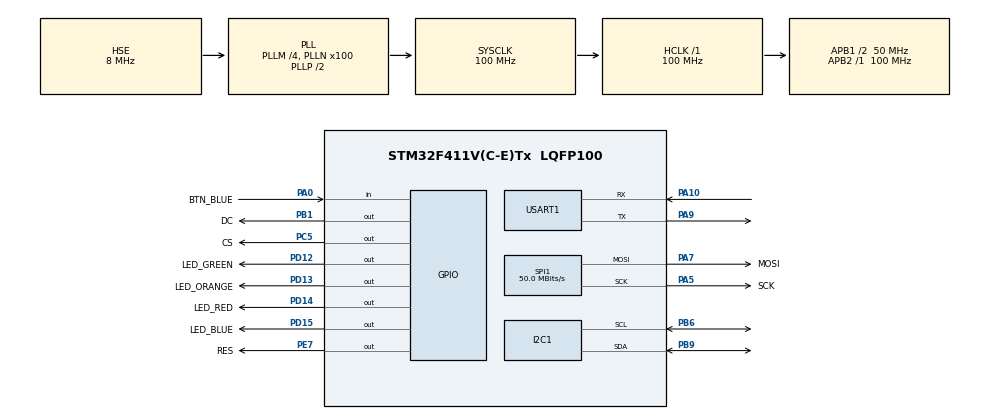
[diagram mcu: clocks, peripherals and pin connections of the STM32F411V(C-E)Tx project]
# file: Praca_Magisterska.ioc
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I2C1.I2C_Mode=I2C_Fast
Mcu.Family=STM32F4
Mcu.Name=STM32F411V(C-E)Tx
Mcu.Package=LQFP100
NVIC.PriorityGroup=NVIC_PRIORITYGROUP_4
NVIC.TIM1_UP_TIM10_IRQn=true\:0\:0\:false\:false\:true\:true
PA0-WKUP.GPIO_Label=BTN_BLUE
PA0-WKUP.Signal=GPIO_Input
PA10.Mode=Asynchronous
PA10.Signal=USART1_RX
PA5.GPIO_Label=SCK
PA5.Mode=TX_Only_Simplex_Unidirect_Master
PA5.Signal=SPI1_SCK
PA7.GPIO_Label=MOSI
PA7.Mode=TX_Only_Simplex_Unidirect_Master
PA7.Signal=SPI1_MOSI
PA9.Mode=Asynchronous
PA9.Signal=USART1_TX
PB1.GPIO_Label=DC
PB1.Signal=GPIO_Output
PB6.Mode=I2C
PB6.Signal=I2C1_SCL
PB9.Mode=I2C
PB9.Signal=I2C1_SDA
PC5.GPIO_Label=CS
PC5.Signal=GPIO_Output
PD12.GPIO_Label=LED_GREEN
PD12.Signal=GPIO_Output
PD13.GPIO_Label=LED_ORANGE
PD13.Signal=GPIO_Output
PD14.GPIO_Label=LED_RED
PD14.Signal=GPIO_Output
PD15.GPIO_Label=LED_BLUE
PD15.Signal=GPIO_Output
PE7.GPIO_Label=RES
PE7.Signal=GPIO_Output
PH0\ -\ OSC_IN.Mode=HSE-External-Oscillator
PH0\ -\ OSC_IN.Signal=RCC_OSC_IN
PH1\ -\ OSC_OUT.Mode=HSE-External-Oscillator
PH1\ -\ OSC_OUT.Signal=RCC_OSC_OUT
ProjectManager.HeapSize=0x200
ProjectManager.StackSize=0x400
ProjectManager.TargetToolchain=SW4STM32
RCC.48MHZClocksFreq_Value=50000000
RCC.AHBFreq_Value=100000000
RCC.APB1CLKDivider=RCC_HCLK_DIV2
RCC.APB1Freq_Value=50000000
RCC.APB1TimFreq_Value=100000000
RCC.APB2Freq_Value=100000000
RCC.APB2TimFreq_Value=100000000
RCC.CortexFreq_Value=100000000
RCC.HCLKFreq_Value=100000000
RCC.HSE_VALUE=8000000
RCC.HSI_VALUE=16000000
RCC.LSE_VALUE=32768
RCC.PLLM=4
RCC.PLLN=100
RCC.PLLSourceVirtual=RCC_PLLSOURCE_HSE
RCC.SYSCLKFreq_VALUE=100000000
RCC.SYSCLKSource=RCC_SYSCLKSOURCE_PLLCLK
RCC.VCOOutputFreq_Value=200000000
SPI1.CalculateBaudRate=50.0 MBits/s
SPI1.Direction=SPI_DIRECTION_2LINES
SPI1.Mode=SPI_MODE_MASTER
SPI1.VirtualType=VM_MASTER
TIM10.Period=4999
TIM10.Prescaler=9999
USART1.VirtualMode=VM_ASYNC
VP_TIM10_VS_ClockSourceINT.Mode=Enable_Timer
board=Praca_Magisterska

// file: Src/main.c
/**
  ******************************************************************************
  * @file           : main.c
  * @brief          : Main program body
  ******************************************************************************
  ** This notice applies to any and all portions of this file
  * that are not between comment pairs USER CODE BEGIN and
  * USER CODE END. Other portions of this file, whether
  * inserted by the user or by software development tools
  * are owned by their respective copyright owners.
  *
  * COPYRIGHT(c) 2018 STMicroelectronics
  *
  * Redistribution and use in source and binary forms, with or without modification,
  * are permitted provided that the following conditions are met:
  *   1. Redistributions of source code must retain the above copyright notice,
  *      this list of conditions and the following disclaimer.
  *   2. Redistributions in binary form must reproduce the above copyright notice,
  *      this list of conditions and the following disclaimer in the documentation
  *      and/or other materials provided with the distribution.
  *   3. Neither the name of STMicroelectronics nor the names of its contributors
  *      may be used to endorse or promote products derived from this software
  *      without specific prior written permission.
  *
  * THIS SOFTWARE IS PROVIDED BY THE COPYRIGHT HOLDERS AND CONTRIBUTORS "AS IS"
  * AND ANY EXPRESS OR IMPLIED WARRANTIES, INCLUDING, BUT NOT LIMITED TO, THE
  * IMPLIED WARRANTIES OF MERCHANTABILITY AND FITNESS FOR A PARTICULAR PURPOSE ARE
  * DISCLAIMED. IN NO EVENT SHALL THE COPYRIGHT HOLDER OR CONTRIBUTORS BE LIABLE
  * FOR ANY DIRECT, INDIRECT, INCIDENTAL, SPECIAL, EXEMPLARY, OR CONSEQUENTIAL
  * DAMAGES (INCLUDING, BUT NOT LIMITED TO, PROCUREMENT OF SUBSTITUTE GOODS OR
  * SERVICES; LOSS OF USE, DATA, OR PROFITS; OR BUSINESS INTERRUPTION) HOWEVER
  * CAUSED AND ON ANY THEORY OF LIABILITY, WHETHER IN CONTRACT, STRICT LIABILITY,
  * OR TORT (INCLUDING NEGLIGENCE OR OTHERWISE) ARISING IN ANY WAY OUT OF THE USE
  * OF THIS SOFTWARE, EVEN IF ADVISED OF THE POSSIBILITY OF SUCH DAMAGE.
  *
  ******************************************************************************
  */
#include "main.h"
#include "stm32f4xx_hal.h"

/* USER CODE BEGIN Includes */
#include <limits.h>
#include "SSD1331.h"

/* USER CODE END Includes */

I2C_HandleTypeDef hi2c1;

SPI_HandleTypeDef hspi1;

TIM_HandleTypeDef htim10;

UART_HandleTypeDef huart1;

/* USER CODE BEGIN PV */
/* Private variables ---------------------------------------------------------*/
///////////////////////////////////////////////////////////////
/////////////// AKCELEROMETR //////////////////////////////////
///////////////////////////////////////////////////////////////
// Rejestry
#define LSM303_ACC_ADDRESS (0x19 << 1) // adres akcelerometru: 0011001x
#define LSM303_ACC_CTRL_REG1_A 0x20 // rejestr ustawien 1
#define LSM303_ACC_Z_H_A 0x2D // wyzszy bajt danych osi Z
#define LSM303_ACC_Z_L_A 0x2C // nizszy bajt danych osi Z
#define LSM303_ACC_X_L_A 0x28 // mlodszy bajt danych osi X

// mlodszy bajt danych osi X z najstarszym bitem ustawionym na 1 w celu
// wymuszenia autoinkrementacji adresow rejestru w urzadzeniu docelowym
// (zeby moc odczytac wiecej danych na raz)
#define LSM303_ACC_X_L_A_MULTI_READ (LSM303_ACC_X_L_A | 0x80)

// Maski bitowe
// CTRL_REG1_A = [ODR3][ODR2][ODR1][ODR0][LPEN][ZEN][YEN][XEN]
#define LSM303_ACC_XYZ_ENABLE 0x07 // 0000 0111
#define LSM303_ACC_100HZ 0x50 //0101 0000
#define LSM303_ACC_10HZ 0x20 //0010 0000
#define LSM303_ACC_1HZ 0x10 //0001 0000

#define LSM303_ACC_RESOLUTION 2.0 // Maksymalna wartosc przyspieszenia [g]

// Zmienne
uint8_t Data[6]; // Zmienna do bezposredniego odczytu danych z akcelerometru
int16_t Xaxis = 0; // Zawiera przeksztalcona forme odczytanych danych z osi X
int16_t Yaxis = 0; // Zawiera przeksztalcona forme odczytanych danych z osi Y
int16_t Zaxis = 0; // Zawiera przeksztalcona forme odczytanych danych z osi Z

float Xaxis_g = 0; // Zawiera przyspieszenie w osi X przekstalcone na jednostke fizyczna [g]
float Yaxis_g = 0; // Zawiera przyspieszenie w osi Y przekstalcone na jednostke fizyczna [g]
float Zaxis_g = 0; // Zawiera przyspieszenie w osi Z przekstalcone na jednostke fizyczna [g]
/* USER CODE END PV */

void SystemClock_Config(void);
static void MX_GPIO_Init(void);
static void MX_I2C1_Init(void);
static void MX_SPI1_Init(void);
static void MX_USART1_UART_Init(void);
static void MX_TIM10_Init(void);

/* USER CODE BEGIN PFP */
/* Private function prototypes -----------------------------------------------*/
void HAL_TIM_PeriodElapsedCallback(TIM_HandleTypeDef *htim){
	if(htim->Instance == TIM10){ // Je¿eli przerwanie pochodzi od timera 10
		HAL_GPIO_TogglePin(LED_BLUE_GPIO_Port, LED_BLUE_Pin);
		ssd1331_clear_screen(BLACK);
		ssd1331_display_string(0,  0, "XAxis: ", FONT_1608, GREEN);
		ssd1331_display_string(0, 20, "YAxis: ", FONT_1608, RED);
		ssd1331_display_string(0, 40, "ZAxis: ", FONT_1608, BLUE);
	}
}

/* USER CODE END PFP */

int main(void)
{

  /* MCU Configuration----------------------------------------------------------*/

  /* Reset of all peripherals, Initializes the Flash interface and the Systick. */
  HAL_Init();

  /* Configure the system clock */
  SystemClock_Config();

  /* Initialize all configured peripherals */
  MX_GPIO_Init();
  MX_I2C1_Init();
  MX_SPI1_Init();
  MX_USART1_UART_Init();
  MX_TIM10_Init();

  /* USER CODE BEGIN 2 */
  ///////////////////////////////////////////////////////////////
  /////////////// AKCELEROMETR //////////////////////////////////
  ///////////////////////////////////////////////////////////////
  // wypelnienie zmiennej konfiguracyjnej odpowiednimi opcjami
  uint8_t Settings = LSM303_ACC_XYZ_ENABLE | LSM303_ACC_10HZ;

  // Wpisanie konfiguracji do rejestru akcelerometru
  HAL_I2C_Mem_Write(&hi2c1, LSM303_ACC_ADDRESS, LSM303_ACC_CTRL_REG1_A, 1, &Settings, 1, 100);

  ///////////////////////////////////////////////////////////////
  ///////////////// SPI - OLED //////////////////////////////////
  ///////////////////////////////////////////////////////////////
  ssd1331_init();
  ssd1331_clear_screen(BLACK);
  ssd1331_display_string(0, 0, "Hello World!", FONT_1608, GREEN);

  ///////////////////////////////////////////////////////////////
  ///////////////// TIMER10 /////////////////////////////////////
  ///////////////////////////////////////////////////////////////
  HAL_TIM_Base_Start_IT(&htim10);

  /* USER CODE END 2 */

  /* Infinite loop */
  /* USER CODE BEGIN WHILE */
  while (1)
  {

	  ///////////////////////////////////////////////////////////////
	  /////////////// AKCELEROMETR //////////////////////////////////
	  ///////////////////////////////////////////////////////////////
	HAL_I2C_Mem_Read(&hi2c1, LSM303_ACC_ADDRESS, LSM303_ACC_X_L_A_MULTI_READ, 1, Data, 6, 100);
	Xaxis = ((Data[1] << 8) | Data[0]);
	Yaxis = ((Data[3] << 8) | Data[2]);
	Zaxis = ((Data[5] << 8) | Data[4]);

	// obliczenie przyspieszen w kazdej z osi w jednostce SI [g]
	 Xaxis_g = ((float) Xaxis * LSM303_ACC_RESOLUTION) / (float) INT16_MAX;
	 Yaxis_g = ((float) Yaxis * LSM303_ACC_RESOLUTION) / (float) INT16_MAX;
	 Zaxis_g = ((float) Zaxis * LSM303_ACC_RESOLUTION) / (float) INT16_MAX;

  /* USER CODE END WHILE */

  }

}

void SystemClock_Config(void)
{

  RCC_OscInitTypeDef RCC_OscInitStruct;
  RCC_ClkInitTypeDef RCC_ClkInitStruct;

    /**Configure the main internal regulator output voltage
    */
  __HAL_RCC_PWR_CLK_ENABLE();

  __HAL_PWR_VOLTAGESCALING_CONFIG(PWR_REGULATOR_VOLTAGE_SCALE1);

    /**Initializes the CPU, AHB and APB busses clocks
    */
  RCC_OscInitStruct.OscillatorType = RCC_OSCILLATORTYPE_HSE;
  RCC_OscInitStruct.HSEState = RCC_HSE_ON;
  RCC_OscInitStruct.PLL.PLLState = RCC_PLL_ON;
  RCC_OscInitStruct.PLL.PLLSource = RCC_PLLSOURCE_HSE;
  RCC_OscInitStruct.PLL.PLLM = 4;
  RCC_OscInitStruct.PLL.PLLN = 100;
  RCC_OscInitStruct.PLL.PLLP = RCC_PLLP_DIV2;
  RCC_OscInitStruct.PLL.PLLQ = 4;
  if (HAL_RCC_OscConfig(&RCC_OscInitStruct) != HAL_OK)
  {
    _Error_Handler(__FILE__, __LINE__);
  }

    /**Initializes the CPU, AHB and APB busses clocks
    */
  RCC_ClkInitStruct.ClockType = RCC_CLOCKTYPE_HCLK|RCC_CLOCKTYPE_SYSCLK
                              |RCC_CLOCKTYPE_PCLK1|RCC_CLOCKTYPE_PCLK2;
  RCC_ClkInitStruct.SYSCLKSource = RCC_SYSCLKSOURCE_PLLCLK;
  RCC_ClkInitStruct.AHBCLKDivider = RCC_SYSCLK_DIV1;
  RCC_ClkInitStruct.APB1CLKDivider = RCC_HCLK_DIV2;
  RCC_ClkInitStruct.APB2CLKDivider = RCC_HCLK_DIV1;

  if (HAL_RCC_ClockConfig(&RCC_ClkInitStruct, FLASH_LATENCY_3) != HAL_OK)
  {
    _Error_Handler(__FILE__, __LINE__);
  }

    /**Configure the Systick interrupt time
    */
  HAL_SYSTICK_Config(HAL_RCC_GetHCLKFreq()/1000);

    /**Configure the Systick
    */
  HAL_SYSTICK_CLKSourceConfig(SYSTICK_CLKSOURCE_HCLK);

  /* SysTick_IRQn interrupt configuration */
  HAL_NVIC_SetPriority(SysTick_IRQn, 0, 0);
}

/* I2C1 init function */
static void MX_I2C1_Init(void)
{

  hi2c1.Instance = I2C1;
  hi2c1.Init.ClockSpeed = 400000;
  hi2c1.Init.DutyCycle = I2C_DUTYCYCLE_2;
  hi2c1.Init.OwnAddress1 = 0;
  hi2c1.Init.AddressingMode = I2C_ADDRESSINGMODE_7BIT;
  hi2c1.Init.DualAddressMode = I2C_DUALADDRESS_DISABLE;
  hi2c1.Init.OwnAddress2 = 0;
  hi2c1.Init.GeneralCallMode = I2C_GENERALCALL_DISABLE;
  hi2c1.Init.NoStretchMode = I2C_NOSTRETCH_DISABLE;
  if (HAL_I2C_Init(&hi2c1) != HAL_OK)
  {
    _Error_Handler(__FILE__, __LINE__);
  }

}

/* SPI1 init function */
static void MX_SPI1_Init(void)
{

  /* SPI1 parameter configuration*/
  hspi1.Instance = SPI1;
  hspi1.Init.Mode = SPI_MODE_MASTER;
  hspi1.Init.Direction = SPI_DIRECTION_2LINES;
  hspi1.Init.DataSize = SPI_DATASIZE_8BIT;
  hspi1.Init.CLKPolarity = SPI_POLARITY_LOW;
  hspi1.Init.CLKPhase = SPI_PHASE_1EDGE;
  hspi1.Init.NSS = SPI_NSS_SOFT;
  hspi1.Init.BaudRatePrescaler = SPI_BAUDRATEPRESCALER_2;
  hspi1.Init.FirstBit = SPI_FIRSTBIT_MSB;
  hspi1.Init.TIMode = SPI_TIMODE_DISABLE;
  hspi1.Init.CRCCalculation = SPI_CRCCALCULATION_DISABLE;
  hspi1.Init.CRCPolynomial = 10;
  if (HAL_SPI_Init(&hspi1) != HAL_OK)
  {
    _Error_Handler(__FILE__, __LINE__);
  }

}

/* TIM10 init function */
static void MX_TIM10_Init(void)
{

  htim10.Instance = TIM10;
  htim10.Init.Prescaler = 9999;
  htim10.Init.CounterMode = TIM_COUNTERMODE_UP;
  htim10.Init.Period = 4999;
  htim10.Init.ClockDivision = TIM_CLOCKDIVISION_DIV1;
  if (HAL_TIM_Base_Init(&htim10) != HAL_OK)
  {
    _Error_Handler(__FILE__, __LINE__);
  }

}

/* USART1 init function */
static void MX_USART1_UART_Init(void)
{

  huart1.Instance = USART1;
  huart1.Init.BaudRate = 115200;
  huart1.Init.WordLength = UART_WORDLENGTH_8B;
  huart1.Init.StopBits = UART_STOPBITS_1;
  huart1.Init.Parity = UART_PARITY_NONE;
  huart1.Init.Mode = UART_MODE_TX_RX;
  huart1.Init.HwFlowCtl = UART_HWCONTROL_NONE;
  huart1.Init.OverSampling = UART_OVERSAMPLING_16;
  if (HAL_UART_Init(&huart1) != HAL_OK)
  {
    _Error_Handler(__FILE__, __LINE__);
  }

}

/** Configure pins as
        * Analog
        * Input
        * Output
        * EVENT_OUT
        * EXTI
*/
static void MX_GPIO_Init(void)
{

  GPIO_InitTypeDef GPIO_InitStruct;

  /* GPIO Ports Clock Enable */
  __HAL_RCC_GPIOH_CLK_ENABLE();
  __HAL_RCC_GPIOA_CLK_ENABLE();
  __HAL_RCC_GPIOC_CLK_ENABLE();
  __HAL_RCC_GPIOB_CLK_ENABLE();
  __HAL_RCC_GPIOE_CLK_ENABLE();
  __HAL_RCC_GPIOD_CLK_ENABLE();

  /*Configure GPIO pin Output Level */
  HAL_GPIO_WritePin(CS_GPIO_Port, CS_Pin, GPIO_PIN_RESET);

  /*Configure GPIO pin Output Level */
  HAL_GPIO_WritePin(DC_GPIO_Port, DC_Pin, GPIO_PIN_RESET);

  /*Configure GPIO pin Output Level */
  HAL_GPIO_WritePin(RES_GPIO_Port, RES_Pin, GPIO_PIN_RESET);

  /*Configure GPIO pin Output Level */
  HAL_GPIO_WritePin(GPIOD, LED_GREEN_Pin|LED_ORANGE_Pin|LED_RED_Pin|LED_BLUE_Pin, GPIO_PIN_RESET);

  /*Configure GPIO pin : BTN_BLUE_Pin */
  GPIO_InitStruct.Pin = BTN_BLUE_Pin;
  GPIO_InitStruct.Mode = GPIO_MODE_INPUT;
  GPIO_InitStruct.Pull = GPIO_NOPULL;
  HAL_GPIO_Init(BTN_BLUE_GPIO_Port, &GPIO_InitStruct);

  /*Configure GPIO pin : CS_Pin */
  GPIO_InitStruct.Pin = CS_Pin;
  GPIO_InitStruct.Mode = GPIO_MODE_OUTPUT_PP;
  GPIO_InitStruct.Pull = GPIO_NOPULL;
  GPIO_InitStruct.Speed = GPIO_SPEED_FREQ_LOW;
  HAL_GPIO_Init(CS_GPIO_Port, &GPIO_InitStruct);

  /*Configure GPIO pin : DC_Pin */
  GPIO_InitStruct.Pin = DC_Pin;
  GPIO_InitStruct.Mode = GPIO_MODE_OUTPUT_PP;
  GPIO_InitStruct.Pull = GPIO_NOPULL;
  GPIO_InitStruct.Speed = GPIO_SPEED_FREQ_LOW;
  HAL_GPIO_Init(DC_GPIO_Port, &GPIO_InitStruct);

  /*Configure GPIO pin : RES_Pin */
  GPIO_InitStruct.Pin = RES_Pin;
  GPIO_InitStruct.Mode = GPIO_MODE_OUTPUT_PP;
  GPIO_InitStruct.Pull = GPIO_NOPULL;
  GPIO_InitStruct.Speed = GPIO_SPEED_FREQ_LOW;
  HAL_GPIO_Init(RES_GPIO_Port, &GPIO_InitStruct);

  /*Configure GPIO pins : LED_GREEN_Pin LED_ORANGE_Pin LED_RED_Pin LED_BLUE_Pin */
  GPIO_InitStruct.Pin = LED_GREEN_Pin|LED_ORANGE_Pin|LED_RED_Pin|LED_BLUE_Pin;
  GPIO_InitStruct.Mode = GPIO_MODE_OUTPUT_PP;
  GPIO_InitStruct.Pull = GPIO_NOPULL;
  GPIO_InitStruct.Speed = GPIO_SPEED_FREQ_LOW;
  HAL_GPIO_Init(GPIOD, &GPIO_InitStruct);

}

void _Error_Handler(char *file, int line)
{
  while(1)
  {
  }
}

/************************ (C) COPYRIGHT STMicroelectronics *****END OF FILE****/
